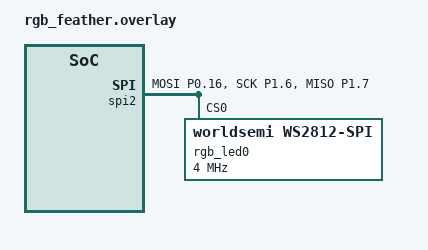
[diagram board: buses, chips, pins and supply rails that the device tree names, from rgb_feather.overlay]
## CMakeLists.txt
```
# SPDX-License-Identifier: Apache-2.0

cmake_minimum_required(VERSION 3.20.0)

# ANT+-only Zwift dongle - the headline product: minimum latency and loss,
# built for whichever of the boards in boards/ a user actually has. No BT, no
# Thread, no coexistence instrumentation - that is apps/dongle_thread's job,
# and stripping it out of this image entirely is deliberate, not an
# oversight: every byte and every interrupt priority here exists to answer
# ANT+ traffic as fast as possible, and a second radio stack even linked in
# and idle is one more thing between an interrupt firing and a slot closing.
#
# The sysbuild-cache reader and the RADIANT_BACKEND selection/assertion
# machinery are shared with every other RadiANT app (apps/hrm_ble,
# apps/dongle_thread) rather than copy-pasted - see that file for the
# sysbuild mechanics this depends on. The ANT_RADIO axis (sdk_ant vs core vs
# stub) is the ANT-serial-dongle-specific half of the same idea, and lives in
# apps/common/ instead, for the reason that file's own header gives.
include("${CMAKE_CURRENT_SOURCE_DIR}/../../cmake/radiant_backend.cmake")
include("${CMAKE_CURRENT_SOURCE_DIR}/../common/ant_radio_backend.cmake")

# radiant is appended unconditionally, and the asymmetry with sdk-ant is
# deliberate. sdk-ant is appended only for -DANT_RADIO=sdk_ant because it may
# not be on disk at all; radiant is in this repository and always is. So it
# is always a module and CONFIG_RADIANT gates it, which is both the ordinary
# Zephyr idiom and a better test: an sdk_ant build then asserts
# CONFIG_RADIANT=n positively, rather than proving nothing by the module's
# absence. radiant/CMakeLists.txt returns immediately when the symbol is n,
# so an sdk_ant build cannot reach a <radiant/...> header either.
#
# The HAL backend is resolved unconditionally too, even though it is only
# used when ANT_RADIO=core: resolving it once is simpler than threading it
# through every ANT_RADIO branch, and a stray RADIANT_BACKEND cache entry on
# an sdk_ant/stub build is harmless since nothing reads it - ant_select_radio()
# discards this text outside the core branch, so no CONFIG_RADIANT_BACKEND_*
# line reaches an sdk_ant or stub .config and radiant_assert_backend() is not
# called there either.
#
# THE DEFAULT IS "nrf". It was "null" for a long time on the argument that a
# bare `west build` should always configure; that argument is withdrawn. The
# null backend refuses every arm, and an image built with it enumerates,
# answers every host command with OK, runs every state machine and finds no
# sensors - which reads as a dead antenna, not a build mistake. It has cost
# this project a rationed Feather flash and a whole Zwift session at least
# once, and the flag has been omitted three separate times.
#
# A default that is wrong-but-buildable trades a loud failure for a silent
# one. `nrf` is the backend every real build of this application asks for, so
# the default now agrees with the intent, and a board that cannot support it
# fails at configure time with radiant_assert_backend()'s message rather than
# at a bench an hour later.
radiant_select_backend("${CMAKE_CURRENT_SOURCE_DIR}/../../radiant" "nrf" RADIANT_BACKEND_CONF)
ant_select_radio("${CMAKE_CURRENT_SOURCE_DIR}" "" "${RADIANT_BACKEND_CONF}" ANT_RADIO_CONF)

# prj.conf turns CRC repair and the -O2 hot path on, and all three symbols live
# inside `if RADIANT`. A stub or sdk_ant build has CONFIG_RADIANT=n, so Kconfig
# would warn "assigned 'y' but got 'n'" for each on every configure. This
# fragment is merged last, so restating them as n here matches what that build
# gets anyway and keeps its configure quiet. Only this app's backend fragment,
# not the shared helper.
if(NOT ANT_RADIO STREQUAL "core")
  string(APPEND ANT_RADIO_CONF
    "CONFIG_RADIANT_CRC_REPAIR=n\nCONFIG_RADIANT_PROFILE_SANITY=n\n"
    "CONFIG_RADIANT_HOT_PATH_O2=n\n")
endif()

# Write only on a change. Zephyr adds every merged fragment to
# CMAKE_CONFIGURE_DEPENDS, so rewriting an identical file each configure
# would hand ninja a freshly-stamped dependency of the configure step it just
# ran.
#
# It lands in the application binary directory because Zephyr globs *.conf
# there and merges the result *after* everything else, including
# -DEXTRA_CONF_FILE. That ordering is what makes this authoritative: the
# backend CMake actually compiled and the backend Kconfig records cannot
# disagree.
set(ANT_RADIO_CONF_FILE "${CMAKE_CURRENT_BINARY_DIR}/ant_radio_backend.conf")
set(ANT_RADIO_CONF_EXISTING "")
if(EXISTS "${ANT_RADIO_CONF_FILE}")
  file(READ "${ANT_RADIO_CONF_FILE}" ANT_RADIO_CONF_EXISTING)
endif()
if(NOT ANT_RADIO_CONF_EXISTING STREQUAL ANT_RADIO_CONF)
  file(WRITE "${ANT_RADIO_CONF_FILE}" "# Generated by CMakeLists.txt from -DANT_RADIO. Do not edit; do not commit.\n${ANT_RADIO_CONF}")
endif()

find_package(Zephyr REQUIRED HINTS $ENV{ZEPHYR_BASE})
project(radiant_dongle)

# See apps/common/ant_radio_backend.cmake's ant_assert_radio() - only
# relevant when ANT_RADIO chose radiant in the first place, and it is the
# function's own job to check that, not this call site's.
ant_assert_radio("radiant_dongle")

target_sources(app PRIVATE src/main.c)

# ── apps/common: the radiant_ant_* seam, the serial bridge and its transports ─────
#
# One source list, added fresh into this application's own image - see that
# file's own header for why it is include()d rather than add_subdirectory()'d
# (a plain zephyr_library() there does not link). CONFIG_ANT_DONGLE_TRANSPORT_*
# (set by the choice in Kconfig) and
# CONFIG_ANT_DONGLE_RADIO_*/CONFIG_RADIANT_ANT_API (set above by
# ant_select_radio() and by apps/common/Kconfig.ant_api's default) together
# decide what actually compiles from it into this image.
include("${CMAKE_CURRENT_SOURCE_DIR}/../common/sources.cmake")

# ── The hostless node's identity (compat-C6) ────────────────────────────────
#
# docs/decisions/0009-hostless-node-identity.md. Default off and off in every
# dongle build: a dongle's epoch authority is the PC behind it, over 0xF3, and
# its pairing scalar arrives over 0xF5 - it wants none of this. The symbol and
# the wiring live here so that a node application built from this tree has a
# home for them, and so the storage backend is selected the same way every
# other backend in this project is.
#
# The counters' storage is a seam (radiant/include/radiant/radiant_node_nvm.h) with no
# default implementation, which is why the backend is a separate condition
# rather than being folded into the one above: a build that selects the
# identity and no backend must fail at the link, not fall back to RAM.
#
# radiant/src/node, not apps/common/node: this pair lives inside the module
# directory (radiant reaches no path outside itself, and this pair always
# did), but the decision to compile it belongs to this application, same as
# before the apps/ split - nothing in radiant/CMakeLists.txt reads either
# symbol.
if(CONFIG_RADIANT_NODE_IDENT)
  target_sources(app PRIVATE ../../radiant/src/node/radiant_node_ident.c)
endif()
if(CONFIG_RADIANT_NODE_NVM_SETTINGS)
  target_sources(app PRIVATE ../../radiant/src/node/radiant_node_nvm_settings.c)
endif()
```

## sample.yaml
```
# Twister metadata for the dongle application.
#
# NOT WIRED INTO EITHER CI LANE. .github/workflows/ci.yml and release.yml both
# drive `west build` directly against the matrices they carry themselves, and
# nothing in this repository runs twister. This file is a correctness-of-record
# description of the buildable configurations, not coverage - do not read a
# scenario here as something that is being checked.
#
# EVERY SCENARIO PASSES ANT_RADIO=core EXPLICITLY. Until the 2026-08-20
# switchover they instead passed CONFIG_ANT_EVALUATION_KEY=y, which is a symbol
# that exists ONLY when sdk-ant's Kconfig has been sourced - so every scenario
# here silently required a private checkout, and none of them could configure
# without one. core is what ships; sdk_ant is the A/B comparison reference and
# is built by hand (see scripts/build_all.ps1 -Backend sdk_ant).
sample:
  description: ANT+ USB Dongle (Zwift-compatible, VID 0x0FCF / PID 0x1009)
  name: ANT+ USB Dongle
tests:
  # The shipping Feather image, and it carries the activity NeoPixel: rgb.conf
  # turns the module on and rgb_feather.overlay declares the LED node plus the
  # `rgb-led0` alias it looks up. Either one alone fails the build on purpose.
  # This pairing is what scripts/build_all.ps1's `release` row builds.
  sample.radiant_dongle.feather_uf2:
    platform_allow: adafruit_feather_nrf52840/nrf52840/uf2
    integration_platforms:
      - adafruit_feather_nrf52840/nrf52840/uf2
    tags: ant usb dongle rgb
    build_only: true
    extra_args:
      - ANT_RADIO=core
      - EXTRA_CONF_FILE=rgb.conf
      - EXTRA_DTC_OVERLAY_FILE=rgb_feather.overlay
  sample.radiant_dongle.nrf52840dongle:
    platform_allow: nrf52840dongle/nrf52840
    integration_platforms:
      - nrf52840dongle/nrf52840
    tags: ant usb dongle
    build_only: true
    extra_args: ANT_RADIO=core
  sample.radiant_dongle.promicro_uf2:
    platform_allow: promicro_nrf52840/nrf52840/uf2
    integration_platforms:
      - promicro_nrf52840/nrf52840/uf2
    tags: ant usb dongle
    build_only: true
    extra_args: ANT_RADIO=core
  # Fallback image for boards with no 32.768 kHz crystal; see synth.conf.
  sample.radiant_dongle.promicro_uf2_synth:
    platform_allow: promicro_nrf52840/nrf52840/uf2
    integration_platforms:
      - promicro_nrf52840/nrf52840/uf2
    tags: ant usb dongle
    build_only: true
    extra_args:
      - ANT_RADIO=core
      - EXTRA_CONF_FILE=synth.conf
  # The new USB device stack on a board that can actually be tested against a
  # host. The nRF54 targets have no legacy stack available, so this is what
  # keeps apps/common/usb_ant_class_next.c honest on hardware that exists. Not
  # a shipping image, and not a second Feather product - the Feather ships one
  # image, the row above.
  sample.radiant_dongle.feather_uf2_usbd:
    platform_allow: adafruit_feather_nrf52840/nrf52840/uf2
    integration_platforms:
      - adafruit_feather_nrf52840/nrf52840/uf2
    tags: ant usb dongle usbd
    build_only: true
    extra_args:
      - ANT_RADIO=core
      - EXTRA_CONF_FILE=next.conf
  # nRF54L15 has no USB device peripheral at all, so this build carries the ANT
  # serial protocol over a UART.
  sample.radiant_dongle.nrf54l15dk:
    platform_allow: nrf54l15dk/nrf54l15/cpuapp
    integration_platforms:
      - nrf54l15dk/nrf54l15/cpuapp
    tags: ant uart nrf54
    build_only: true
    extra_args: ANT_RADIO=core
  # nRF54LM20A: the one nRF54L part with a USB controller, and it is a DWC2,
  # so this is the new stack by necessity rather than by preference.
  sample.radiant_dongle.nrf54lm20dk:
    platform_allow: nrf54lm20dk/nrf54lm20a/cpuapp
    integration_platforms:
      - nrf54lm20dk/nrf54lm20a/cpuapp
    tags: ant usb dongle nrf54 usbd
    build_only: true
    extra_args: ANT_RADIO=core
```

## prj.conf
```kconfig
# Board-specific settings live in boards/<board>.conf - the UF2 output and
# code-partition offset for the Feather, RTT wiring for the nRF5340 DK.

# The ANT stack settings that used to sit here - CONFIG_ANT,
# CONFIG_ANT_EVALUATION_KEY, CONFIG_ANT_TOTAL_CHANNELS_ALLOCATED=8 (which is
# what gives Zwift headroom for HRM + power + cadence + extras) and
# CONFIG_ANT_BURST_QUEUE_SIZE - are now written by CMakeLists.txt into a
# generated fragment, alongside the CONFIG_ANT_DONGLE_RADIO_* symbol naming the
# backend. They name symbols that exist only when sdk-ant's Kconfig has been
# sourced, and it is CMake that decides whether that happens; stating them here
# would make every core or stub build fail on an assignment to an undefined
# symbol. Same reasoning as the legacy USB stack settings in Kconfig.

# Logging via RTT only; USB is reserved for the ANT bridge
CONFIG_LOG=y
CONFIG_LOG_MODE_DEFERRED=y
CONFIG_USE_SEGGER_RTT=y
CONFIG_LOG_BACKEND_RTT=y
CONFIG_LOG_BACKEND_UART=n
# Two separate knobs decide what happens when the RTT up-buffer fills, and on
# this board it is always full: nothing ever drains it, because the Feather has
# no debugger to attach one.
#
# The SEGGER-level one is already Zephyr's default, but the alternative
# (SEGGER_RTT_MODE_BLOCK_IF_FIFO_FULL) spins until a host reads, which here
# would be forever. Stating it removes a way for an SDK default to move.
CONFIG_SEGGER_RTT_MODE_NO_BLOCK_SKIP=y
# The log-backend one defaults to BLOCK, which is not the default we want: a
# skipped write is retried LOG_BACKEND_RTT_RETRY_CNT (4) times with
# LOG_BACKEND_RTT_RETRY_DELAY_MS (5) between, so every message past the first
# 1 KB costs ~20 ms of k_msleep for output that no one will ever read. Deferred
# mode confines that to the log thread; diag.conf switches to
# CONFIG_LOG_MODE_IMMEDIATE, where it is spent in the calling thread instead -
# the ANT event handler and the USB work queue.
CONFIG_LOG_BACKEND_RTT_MODE_DROP=y

# Heap and threads
CONFIG_HEAP_MEM_POOL_SIZE=4096
CONFIG_MAIN_STACK_SIZE=2048
CONFIG_RESET_ON_FATAL_ERROR=y
CONFIG_REBOOT=y

# Transport. The default is CONFIG_ANT_DONGLE_TRANSPORT_USB_LEGACY wherever a
# Nordic USBD peripheral exists, which is every board this has shipped on; the
# nRF54 targets pick a different one from their board .conf because they have
# to. The USB identity (VID/PID/strings) and each stack's own settings live in
# the application Kconfig, because the legacy symbols do not exist in a build
# that is not using the legacy stack.
CONFIG_CONSOLE=n
CONFIG_UART_CONSOLE=n
CONFIG_SHELL=n

# Pin bcdDevice rather than letting Zephyr derive it from the kernel version,
# so the hardware ID stays put across rebuilds. Windows caches its driver
# verdict against VID+PID+bcdDevice and will not reconsider a device it has
# already bound, so a moving value quietly creates a new device node on every
# SDK bump. Not verified against a retail stick - the ANT INF matches
# USB\VID_0FCF&PID_1009 without a REV, so the value is free.
CONFIG_ANT_DONGLE_BCD_DEVICE=0x0100

# Ring buffer for USB RX data
CONFIG_RING_BUFFER=y

# GPIO for onboard LED activity signal
CONFIG_GPIO=y

# The boot reset cause (apps/common/ant_reset_cause.c): logged on every boot,
# feeds the UF2 settle, and becomes the reason byte of the boot STARTUP on UART
# builds. USB builds already had it (the USB serial number pulls it in); UART
# builds - the 54L15 and the 5340 net core - did not, so their settle waited
# blind and a self-reboot there was invisible.
CONFIG_HWINFO=y

# CRC repair, on in every image built from this file (owner acceptance of the
# 2026-11-15 nRF bench gate; archive/benchmarks/2026-11-15-nrf-crc-repair/).
# Single-bit CRC errors on tracked windows are flipped back; search windows
# are refused by the module itself. PROFILE_SANITY is the third refutation for
# a repaired frame and travels with it. The counters are read over 0xF7
# page 10 on a diagnostic build; the radiant library default stays n, and
# crc_repair_off.conf builds this image without it. See radiant/Kconfig.
CONFIG_RADIANT_CRC_REPAIR=y
CONFIG_RADIANT_PROFILE_SANITY=y

# The scheduler, the radiant_ant runtime and the radio backend at -O2, the rest of the
# image at -Os (owner ruling 2026-11-16, perf plan step C2). Under load on the
# Pro Micro, 0xF7 page 9 [5] (worst pass-to-arm CPU time) was 289 us at -Os and
# 255 us at -O2, against a 240 us budget (archive/benchmarks/2026-11-16-pass-
# breakdown/). Cost +4864 B flash on this image (+5360 B on the bench's
# diagnostic build), RAM unchanged. The radiant library default stays n; the
# release matrix's trainer row keeps it built. See radiant/Kconfig and
# radiant/CMakeLists.txt.
CONFIG_RADIANT_HOT_PATH_O2=y
```

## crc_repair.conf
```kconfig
# CONFIG_RADIANT_CRC_REPAIR on, as a fragment for an application that does
# not already ship it.
#
#   west build ... -- "-DEXTRA_CONF_FILE=<path to>/crc_repair.conf"
#
# apps/dongle and apps/dongle_ti now set both symbols in their own prj.conf
# (owner acceptance of the nRF bench gate on 2026-11-15:
# archive/benchmarks/2026-11-15-nrf-crc-repair/, 22 repairs, 0 mis-repairs;
# the cc26xx run is archive/benchmarks/2026-11-13-ti-crc-repair/), so on
# those two this file is a no-op and crc_repair_off.conf is the one that
# changes anything. The radiant library default stays n (radiant/Kconfig):
# repair needs a backend with caps.has_rx_crc, and an application should turn
# it on knowingly. This is the file to point another radiant application at
# (apps/dongle_thread, a downstream product) when it does.
#
# CONFIG_RADIANT_PROFILE_SANITY rides along: it is the third refutation for a
# repaired frame (alongside the control-byte and transmission-type checks in
# radiant_crc_repair.h), and repair without it cannot tell a caught
# mis-repair from an uncaught one.
CONFIG_RADIANT_CRC_REPAIR=y
CONFIG_RADIANT_PROFILE_SANITY=y

# The read path for the four counters this turns on (radiant_api_stats:
# crc_repaired, crc_unrepairable, crc_repair_refuted, crc_repair_implausible)
# is 0xF7 page 10 on a build with CONFIG_RADIANT_DIAG_COUNTERS (on the dongles,
# diag_counters.conf). radiant/src/ant_api/radiant_ant.c also logs them
# every 10 s and on channel close, but only at debug level: set
# CONFIG_RADIANT_LOG_LEVEL_DBG=y to see those lines on a UART log (it is a
# choice; CONFIG_RADIANT_LOG_LEVEL has no prompt and "=4" does not configure).
# That raises EVERY radiant_* log module to DBG, not just this one, so expect
# much more log volume and changed timing on a bench run.
#
# That read path is what makes an honest null result possible: without the
# counters, "repair did nothing" and "repair never engaged" are the same two
# numbers, and only one of them is a result.
```

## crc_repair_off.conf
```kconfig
# CRC repair OFF, the radiant library default (radiant/Kconfig), on top of an
# apps/dongle image that ships it on.
#
#   west build ... -- "-DEXTRA_CONF_FILE=crc_repair_off.conf"
#
# Two jobs. It is the A leg of any repair A/B now that prj.conf is the B leg,
# and it keeps a dongle build behind the default-off configuration, which
# release.yml's "core: feather, crc repair off" row asserts. PROFILE_SANITY
# depends on CRC_REPAIR, so it is cleared here too: leaving prj.conf's =y in
# place would be an assignment to a symbol with unmet dependencies, which
# Kconfig warns about on every configure.
CONFIG_RADIANT_CRC_REPAIR=n
CONFIG_RADIANT_PROFILE_SANITY=n
```

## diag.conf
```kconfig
# Diagnostic overlay: send the log to flash instead of RTT, at DBG level.
#
#   west build ... -- "-DEXTRA_CONF_FILE=diag.conf"
#   (or "-DEXTRA_CONF_FILE=stub.conf;diag.conf" to also drop the radio)
#
# Read the result back after a double-tap of RESET with
#   .\scripts\read_flash_log.ps1
#
# This exists because the board has no debugger: RTT compiles but nothing can
# read it. Not for releases - it costs RAM, flash erase cycles and boot time.
# CONFIG_ANT_DONGLE_FLASH_LOG depends on FLASH rather than selecting it: FLASH
# is reachable from LOG through the coredump backend choice, and selecting it
# makes Kconfig report a dependency loop.
CONFIG_FLASH=y
CONFIG_ANT_DONGLE_FLASH_LOG=y

# NCS compiles its OWN k_sys_fatal_error_handler whenever this is y
# (nrf/lib/fatal_error/CMakeLists.txt guards the source on exactly this
# symbol), and apps/common/diag_flash_log.c defines one too - so leaving it at
# its NCS default made this fragment fail to LINK:
#
#   multiple definition of `k_sys_fatal_error_handler';
#   apps/common/diag_flash_log.c:247: first defined here
#
# Our handler is the whole point of a diag build: it commits the log to flash
# before the CPU stops, which is what makes an early fault visible on a board
# with no debugger. NCS's just reboots. So NCS's is the one that goes.
#
# The consequence is deliberate: with this n, diag_flash_log.c's handler halts
# after flushing instead of rebooting. That is the better behaviour here -
# a cold reboot into the same fault would fault again and re-flush, and this
# fragment's own header warns it costs flash erase cycles. A halted board is
# also what "double-tap RESET and read the log back" expects to find.
CONFIG_RESET_ON_FATAL_ERROR=n

# RTT would just be dead weight without a probe attached.
CONFIG_LOG_BACKEND_RTT=n
CONFIG_USE_SEGGER_RTT=n

# Deferred logging drops whatever is still queued when execution stops, which
# is precisely the interesting case. Immediate mode formats in the caller's
# context, so the last line before a hang is already in the buffer.
CONFIG_LOG_MODE_IMMEDIATE=y

# The failure being chased is inside usb_enable(), and its own DBG output names
# the step that failed - "Failed to fixup USB descriptor", endpoint validation,
# the nrfx driver's attach path.
CONFIG_USB_DEVICE_LOG_LEVEL_DBG=y
CONFIG_USB_DRIVER_LOG_LEVEL_DBG=y

# Immediate mode formats every message on the stack of whichever thread logged
# it, and main() is what drives USB bring-up at DBG level. 2 KB (prj.conf) is
# not enough for that, and the overflow would look like the hang being chased.
CONFIG_MAIN_STACK_SIZE=4096
```

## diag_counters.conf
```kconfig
# SPDX-License-Identifier: Apache-2.0
#
# The 0xF7 diagnostic pages (MESG_RADIANT_DIAG, ADR 0023) on an nRF dongle,
# with the 0xF6 health counters they depend on. NOT diag.conf, which is the
# flash-log overlay.
#
#   west ... -- "-DEXTRA_CONF_FILE=diag_counters.conf"
#
# Read with tools/ant_diag.py --serial <serial>. Check the generated .config:
# CONFIG_ANT_DONGLE_DIAG=y and CONFIG_RADIANT_DIAG_COUNTERS=y.
CONFIG_ANT_DONGLE_HEALTH_COUNTERS=y
CONFIG_ANT_DONGLE_DIAG=y
```

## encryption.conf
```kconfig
# Bridge the single channel encryption writes as well as the reads.
#
#   west ... -- "-DEXTRA_CONF_FILE=encryption.conf"
#
# Not part of any released image. See CONFIG_ANT_DONGLE_ENCRYPTION in Kconfig
# for why the default is off: no host on Windows can send 0x7D/0x7E/0x7F,
# because ANT_DLL.dll exports no encryption call at all, so the only thing
# enabling it can do to a shipping dongle is make a mode reachable that nothing
# asked for - on the same path a fitness app depends on.
#
# It exists so the feature can be built and exercised with
# tools/ant_features.py, and so a default-off path does not quietly stop
# compiling.
CONFIG_ANT_DONGLE_ENCRYPTION=y
```

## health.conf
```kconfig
# Enable the 0xF6 health counters (MESG_RADIANT_HEALTH).
#
#   west build app/apps/dongle -- "-DANT_RADIO=core" "-DRADIANT_BACKEND=nrf" \
#                                 "-DEXTRA_CONF_FILE=health.conf"
#   (or "-DEXTRA_CONF_FILE=next.conf;health.conf" for the USB_NEXT stack)
#
# -DRADIANT_BACKEND=nrf is spelled out because this recipe was copied without
# it once, onto a rationed Feather flash, and produced an image with the inert
# null radio. That is no longer the default, but an explicit flag is still what
# a reader should copy - and the .config read-back below is what proves it.
#
# Off by default - see CONFIG_ANT_DONGLE_HEALTH_COUNTERS's own help in
# apps/common/Kconfig.health and the header comment in radiant/include/radiant/ant_health.h
# for why: the `zero-cost` CI job asserts identical section sizes and symbol
# sets against the merge base, and this symbol puts real counters on the
# common path.
#
# This fragment has a matrix entry in .github/workflows/release.yml (both the
# legacy-USB and USB_NEXT builds) with an `assert_config` read-back, on the
# same reasoning as security.conf next to it: a fragment nobody's CI ever
# builds is a fragment nobody notices breaking.
CONFIG_ANT_DONGLE_HEALTH_COUNTERS=y
```

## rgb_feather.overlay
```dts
/* SPDX-License-Identifier: Apache-2.0 */

/*
 * The Adafruit Feather nRF52840 Express's on-board NeoPixel (P0.16), wired up
 * for CONFIG_ANT_DONGLE_RGB_LED. Applied by the Feather's RELEASE build row,
 * via -DEXTRA_DTC_OVERLAY_FILE=rgb_feather.overlay, in both
 * scripts/build_all.ps1 and .github/workflows/release.yml's build-core matrix.
 * The activity indicator is part of the shipping image.
 *
 * WHY THIS IS STILL NOT IN boards/adafruit_feather_nrf52840_nrf52840_uf2.overlay,
 * NOW THAT IT SHIPS. The reason changed and the answer did not.
 *
 * It used to be that the node must not reach the shipping image at all.
 * CONFIG_WS2812_STRIP_SPI is `default y` gated purely on a ws2812 compatible
 * being enabled in devicetree, so declaring the node in the board overlay pulls
 * the LED driver and the SPI subsystem into EVERY Feather build of this
 * application - and the shipping image was one of those builds.
 *
 * It now ships, so that argument is spent. The one that replaces it: the
 * `zero-cost` CI job builds a plain Feather from HEAD and from the merge base
 * and compares them section by section and symbol by symbol. What it is
 * measuring is what the RGB feature costs when it is OFF - the render thread,
 * the ws2812 driver and the SPI subsystem, none of which apps/dongle_thread
 * has, since Kconfig.rgb_led is not sourced there at all. Put the node in
 * boards/ and there is no longer any build of this board with the feature off,
 * so that job would compare two enabled images and measure nothing.
 *
 * The counting hook is no longer part of what that job measures here: it moved
 * to ant_activity.h and CONFIG_ANT_DONGLE_ACTIVITY_COUNT, which the mono led0
 * heartbeat's activity mode turns on in the default image anyway. Its own
 * ((void)0) else-branch is intact and is what an _ACTIVITY=n build gets.
 *
 * PORTING THIS TO ANOTHER BOARD: copy this file to rgb_<board>.overlay, point
 * the psels at that board's LED pin, and keep the `rgb-led0` alias. The C code
 * looks up nothing else. Then add `conf='rgb.conf'` and
 * `overlay='rgb_<board>.overlay'` to that board's row in
 * scripts/build_all.ps1, the way the Feather's release row does.
 */

#include <zephyr/dt-bindings/led/led.h>

&pinctrl {
	/*
	 * MOSI is the only signal that goes anywhere. SCK and MISO are parked on
	 * P1.06/P1.07, which appear in no node and on no header pin of this
	 * board (checked against feather_connector.dtsi and
	 * adafruit_feather_nrf52840_common.dtsi), so they drive nothing.
	 *
	 * They are parked rather than omitted because nrfx carries a reference-
	 * manual note that SPIM's SCK should always be connected. Omitting the
	 * psels does in fact work - Zephyr sets skip_gpio_cfg/skip_psel_cfg, so
	 * nrfx's pin validation is bypassed and init_sck_pin() tolerates
	 * PIN_NOT_CONNECTED - but parking costs nothing and stays inside what
	 * the hardware documentation asks for.
	 *
	 * DO NOT copy the in-tree Actinius precedent's choice of P0.00 for this.
	 * On this board P0.00/P0.01 are XL1/XL2 and carry the 32.768 kHz crystal
	 * that ANT's channel timing depends on.
	 */
	spi2_neopixel: spi2_neopixel {
		group1 {
			psels = <NRF_PSEL(SPIM_MOSI, 0, 16)>,
				<NRF_PSEL(SPIM_SCK, 1, 6)>,
				<NRF_PSEL(SPIM_MISO, 1, 7)>;
		};
	};
};

/*
 * SPIM2, and the instance choice is constrained from three sides. SPIM0 shares
 * its address and IRQ with i2c0, which this board enables. SPIM1 is the board's
 * header SPI on P0.13/14/15. SPIM3 would work but drags in nrfx's nRF52840
 * anomaly-198 workaround, which rewrites the chip-wide AHB slave arbitration
 * register around every transfer - a global bus-arbitration change wrapped
 * around each LED update is the last thing to put near a radio ISR. SPIM2 has
 * no such workaround.
 */
&spi2 {
	compatible = "nordic,nrf-spim";
	status = "okay";
	pinctrl-0 = <&spi2_neopixel>;
	pinctrl-names = "default";
	#address-cells = <1>;
	#size-cells = <0>;

	rgb_led0: ws2812@0 {
		compatible = "worldsemi,ws2812-spi";
		reg = <0>;

		/*
		 * 4 MHz with these frame patterns is the in-tree nRF precedent
		 * (8 SPI bits per WS2812 bit, so 2 us per bit against the 1.25 us
		 * nominal period). It is slightly long and normally works. If the
		 * pixel shows wrong colours or flickers, raise to 8000000 - the
		 * SPIM2 ceiling - with spi-one-frame 0x7c and spi-zero-frame 0x60.
		 */
		spi-max-frequency = <4000000>;
		spi-one-frame = <0x70>;
		spi-zero-frame = <0x40>;

		chain-length = <1>;
		color-mapping = <LED_COLOR_ID_GREEN
				 LED_COLOR_ID_RED
				 LED_COLOR_ID_BLUE>;
		reset-delay = <280>;
	};
};

/ {
	aliases {
		/* The only name apps/common/ant_rgb_led.c knows. */
		rgb-led0 = &rgb_led0;
	};
};
```

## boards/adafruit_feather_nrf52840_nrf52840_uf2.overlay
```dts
/ {
	chosen {
		/delete-property/ zephyr,console;
		/delete-property/ zephyr,shell-uart;
		/delete-property/ zephyr,uart-mcumgr;
		/delete-property/ zephyr,bt-mon-uart;
		/delete-property/ zephyr,bt-c2h-uart;

		/*
		 * The TIMER radiant's nrf backend owns outright, for
		 * -DRADIANT_BACKEND=nrf. It runs at 1 MHz forever and is what
		 * t_sync is hardware-captured into from RADIO's ADDRESS event,
		 * so it cannot be shared: naming it here rather than in the
		 * source is what makes a second user a devicetree conflict
		 * instead of two drivers reprogramming each other's prescaler.
		 *
		 * TIMER4, and the choice is constrained from both ends. The
		 * backend needs FIVE compare/capture channels - t_sync capture,
		 * RX start, window close, software now-capture, TX start - and
		 * on nRF52 only TIMER3 and TIMER4 have more than four, which is
		 * a compile-time #error in radiant_radio_nrf.c rather than
		 * something to discover on the air. TIMER4 is the one of the
		 * two that nothing else on this board claims.
		 *
		 * Without this property the nrf backend does not COMPILE for
		 * this board - which is how it went unnoticed that the product
		 * board had never had one: every core build for the Feather so
		 * far used the null backend, where no TIMER is wanted.
		 */
		radiant,radio-timer = &timer4;
	};
};

&timer4 {
	status = "okay";
};

&board_cdc_acm_uart {
	status = "disabled";
};

&uart0 {
	status = "disabled";
};
```

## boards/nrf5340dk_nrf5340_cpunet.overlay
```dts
/*
 * nRF5340 DK network core - ANT serial on uart0, and the TIMER the backend owns.
 *
 * uart0 is the only UART on this core (nrf5340_cpunet.dtsi declares one), so
 * unlike the nRF54L15 DK there is no second port to give the console. The
 * board DTS already lists uart0 as zephyr,console; that chosen is left in
 * place and simply not honoured, because the .conf keeps prj.conf's
 * CONSOLE=n/UART_CONSOLE=n. Overriding the chosen would change nothing and
 * would make this file disagree with the board for no reason.
 *
 * The pins (P1.00/P1.01 -> the DK's second VCOM) are already in the board's
 * pinctrl. They belong to the APPLICATION core until it grants them, which is
 * radiant/spike/promisc/appcore's job - see the .conf. A build that skips the
 * companion gets a perfectly working ANT stack whose bytes leave on pins that
 * are still owned by the other core.
 */

/ {
	aliases {
		ant-uart = &uart0;
	};

	chosen {
		/*
		 * The TIMER radiant's nrf backend owns outright. It runs at
		 * 1 MHz forever and is what t_sync is hardware-captured into
		 * from RADIO's ADDRESS event, so it cannot be shared - naming
		 * it here rather than in the source makes a second user a
		 * devicetree conflict instead of two drivers reprogramming
		 * each other's prescaler.
		 *
		 * timer1, not timer0. All three network-core TIMERs carry
		 * cc-num = <8>, well past the five the backend requires, so
		 * the choice is about who else wants one: timer0 is the
		 * conventional Bluetooth-controller timer on this core. BT is
		 * off in this image, so timer0 would work today and would
		 * collide the day anyone builds this beside a controller.
		 * timer2 is left spare.
		 */
		radiant,radio-timer = &timer1;
	};
};

&timer1 {
	status = "okay";
};
```

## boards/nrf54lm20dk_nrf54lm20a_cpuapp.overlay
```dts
/*
 * nRF54LM20A DK - the TIMER radiant's nrf backend needs.
 *
 * This file exists only for that one chosen node. Everything else about this
 * board's dongle build is Kconfig, and lives in the .conf beside this file;
 * the console stays on uart20 as the board's own dts has it, and the ANT byte
 * stream leaves over USB (DWC2), not a second VCOM, so there is no ant-uart
 * alias here as there is on the nRF54L15 DK.
 *
 * BUILD-VERIFIED ONLY - there is no LM20 on this bench. See the .conf for what
 * else about this part is untested.
 */

/ {
	chosen {
		/*
		 * The TIMER radiant's nrf backend owns outright, for
		 * -DRADIANT_BACKEND=nrf. It runs at 1 MHz forever and is what
		 * t_sync is hardware-captured into from RADIO's ADDRESS event,
		 * so it cannot be shared: naming it here rather than in the
		 * source is what makes a second user a devicetree conflict
		 * instead of two drivers reprogramming each other's prescaler.
		 *
		 * Without it the backend does not COMPILE - radiant_radio_nrf.c
		 * #errors on a missing radiant,radio-timer, on one that is
		 * `status = "disabled"`, and on one with fewer than five CC
		 * channels. That #error is why this board had never built with
		 * -Backend core -RadiantBackend nrf: the overlay did not exist
		 * at all. Do not delete this as unused.
		 *
		 * timer20, the same choice as the nRF54L15 DK: same family,
		 * same peripheral map, cc-num = 6 here as there (every nRF54L
		 * TIMER has at least six), and free on this board. Like every
		 * TIMER on this SoC it is `status = "disabled"` by default, and
		 * an unclocked peripheral is not addressable - hence the enable
		 * below.
		 *
		 * The one caveat, carried over from the treadmill overlay for
		 * this board: mpsl.rst lists MPSL as owning TIMER10 and TIMER20
		 * on nRF54L while mpsl_hwres.h reserves only TIMER10. TIMER20
		 * was measured not to collide ON THE L15; that measurement has
		 * not been repeated on this part. If a timeslot build here
		 * misbehaves, suspect this line first - TIMER22 behaved
		 * identically on the L15.
		 */
		radiant,radio-timer = &timer20;
	};
};

&timer20 {
	status = "okay";
};
```

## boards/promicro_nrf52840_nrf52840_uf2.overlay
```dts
/*
 * Same story as the other boards: the devicetree pulls in
 * boards/common/usb/cdc_acm_serial.dtsi, which points every console-ish chosen
 * node at a CDC ACM instance on the one USB device we need for the ANT vendor
 * class. Detach them and disable the node, or the USB stack comes up with two
 * classes and neither behaves. Logging goes over RTT (see prj.conf).
 *
 * uart0 is enabled in the board's dts on pins we do not use.
 */
/ {
	chosen {
		/delete-property/ zephyr,console;
		/delete-property/ zephyr,shell-uart;
		/delete-property/ zephyr,uart-mcumgr;
		/delete-property/ zephyr,bt-mon-uart;
		/delete-property/ zephyr,bt-c2h-uart;

		/*
		 * The TIMER radiant's nrf backend owns outright, for
		 * -DRADIANT_BACKEND=nrf. It runs at 1 MHz forever and is what
		 * t_sync is hardware-captured into from RADIO's ADDRESS event,
		 * so it cannot be shared: naming it here rather than in the
		 * source is what makes a second user a devicetree conflict
		 * instead of two drivers reprogramming each other's prescaler.
		 *
		 * TIMER4, the same one the Feather overlay beside this takes,
		 * and for the same reason from both ends. The backend needs
		 * FIVE compare/capture channels - t_sync capture, RX start,
		 * window close, software now-capture, TX start - and on nRF52
		 * only TIMER3 and TIMER4 have more than four (TIMER0-2 have
		 * four, and are conventionally the SoftDevice's). Both are free
		 * on this board; TIMER4 keeps the two nRF52840 boards
		 * identical. Fewer than five CCs is a compile-time #error in
		 * radiant_radio_nrf.c, not something to discover on the air.
		 *
		 * Without this property the nrf backend does not COMPILE for
		 * this board, which is exactly why it was missing: every core
		 * build here so far used the null backend, where no TIMER is
		 * wanted. Deleting it as unused re-breaks
		 * `build_all.ps1 -Backend core -RadiantBackend nrf`.
		 */
		radiant,radio-timer = &timer4;
	};
};

&timer4 {
	status = "okay";
};

&board_cdc_acm_uart {
	status = "disabled";
};

&uart0 {
	status = "disabled";
};
```

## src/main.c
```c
/* SPDX-License-Identifier: Apache-2.0 */

/*
 * ANT+ USB Dongle — main entry point.
 *
 * The boot sequence itself lives in apps/common/ant_dongle_main.c, shared with
 * apps/dongle_thread; see apps/common/ant_dongle_main.h for why. This
 * application adds nothing to it — it is ANT+-only by design, and the weak
 * ant_dongle_post_radio_init() hook is deliberately left at its default no-op
 * here. The two coexistence loads that used to be #if'd into this file are in
 * apps/dongle_thread, which is the only application that links a second
 * wireless stack.
 */

#include "ant_dongle_main.h"

int main(void)
{
	return ant_dongle_main_run();
}
```
